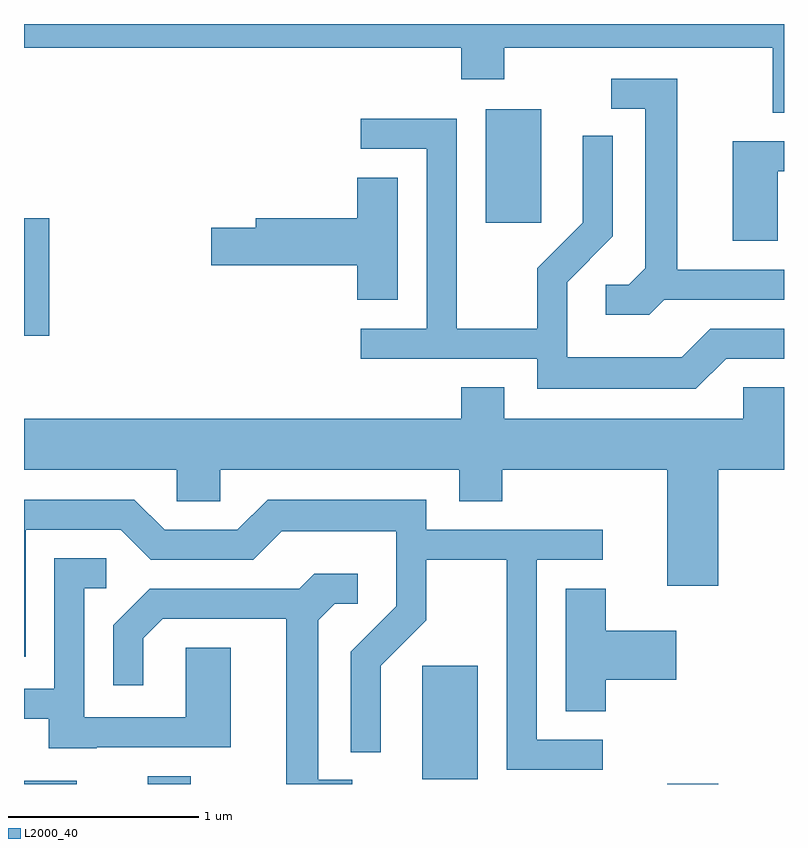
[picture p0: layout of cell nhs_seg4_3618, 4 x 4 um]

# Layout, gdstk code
import gdstk
lib = gdstk.Library(unit=1e-6, precision=1e-09)
def R(c, l, rs):  # rectangles x0, y0, x1, y1
    for r in rs: c.add(gdstk.rectangle(r[:2], r[2:], *l))
def P(c, l, *ps):  # polygons
    for p in ps: c.add(gdstk.Polygon(p, *l))
L2000_40 = (2000, 40)

nhs_seg4_3618 = lib.new_cell('nhs_seg4_3618')
R(nhs_seg4_3618, L2000_40, [(291.611,1281.982,291.888,1281.999), (292.261,1281.982,292.489,1282.024), (294.996,1281.982,295.264,1281.984), (293.706,1282.006,293.999,1282.604), (291.611,1284.341,291.744,1284.959), (294.041,1284.936,294.334,1285.534)])
P(nhs_seg4_3618, L2000_40, [(295.611,1285.982),(291.611,1285.982),(291.611,1285.856),(293.911,1285.856),(293.911,1285.691),(294.139,1285.691),(294.139,1285.856),(295.551,1285.856),(295.551,1285.516),(295.611,1285.516)],
  [(294.982,1284.531),(295.611,1284.531),(295.611,1284.689),(295.049,1284.689),(295.049,1285.694),(294.703,1285.694),(294.703,1285.536),(294.881,1285.536),(294.881,1284.697),(294.794,1284.609),(294.673,1284.609),(294.673,1284.451),(294.902,1284.451)],
  [(295.307,1284.221),(295.611,1284.221),(295.611,1284.379),(295.224,1284.379),(295.074,1284.229),(294.469,1284.229),(294.469,1284.624),(294.709,1284.864),(294.709,1285.393),(294.551,1285.393),(294.551,1284.937),(294.311,1284.697),(294.311,1284.379),(293.889,1284.379),(293.889,1285.484),(293.383,1285.484),(293.383,1285.326),(293.731,1285.326),(293.731,1284.379),(293.383,1284.379),(293.383,1284.221),(294.311,1284.221),(294.311,1284.061),(295.147,1284.061)],
  [(295.579,1285.206),(295.611,1285.206),(295.611,1285.364),(295.341,1285.364),(295.341,1284.841),(295.579,1284.841)],
  [(293.579,1285.174),(293.366,1285.174),(293.366,1284.959),(292.831,1284.959),(292.831,1284.909),(292.596,1284.909),(292.596,1284.711),(293.366,1284.711),(293.366,1284.531),(293.579,1284.531)],
  [(295.264,1283.636),(295.611,1283.636),(295.611,1284.069),(295.396,1284.069),(295.396,1283.904),(294.139,1283.904),(294.139,1284.069),(293.911,1284.069),(293.911,1283.904),(291.611,1283.904),(291.611,1283.636),(292.416,1283.636),(292.416,1283.471),(292.644,1283.471),(292.644,1283.636),(293.901,1283.636),(293.901,1283.471),(294.129,1283.471),(294.129,1283.636),(294.996,1283.636),(294.996,1283.026),(295.264,1283.026)],
  [(294.658,1282.214),(294.309,1282.214),(294.309,1283.161),(294.658,1283.161),(294.658,1283.319),(293.729,1283.319),(293.729,1283.479),(292.894,1283.479),(292.734,1283.319),(292.352,1283.319),(292.192,1283.479),(291.611,1283.479),(291.611,1282.651),(291.619,1282.651),(291.619,1283.321),(292.119,1283.321),(292.279,1283.161),(292.817,1283.161),(292.967,1283.311),(293.571,1283.311),(293.571,1282.917),(293.331,1282.677),(293.331,1282.148),(293.489,1282.148),(293.489,1282.604),(293.729,1282.844),(293.729,1283.161),(294.151,1283.161),(294.151,1282.056),(294.658,1282.056)],
  [(291.995,1282.176),(292.699,1282.176),(292.699,1282.699),(292.461,1282.699),(292.461,1282.334),(291.929,1282.334),(291.929,1283.011),(292.043,1283.011),(292.043,1283.169),(291.771,1283.169),(291.771,1282.484),(291.611,1282.484),(291.611,1282.326),(291.741,1282.326),(291.741,1282.171),(291.995,1282.171)],
  [(293.338,1282.004),(293.159,1282.004),(293.159,1282.844),(293.247,1282.931),(293.368,1282.931),(293.368,1283.089),(293.139,1283.089),(293.059,1283.009),(292.274,1283.009),(292.081,1282.817),(292.081,1282.503),(292.239,1282.503),(292.239,1282.749),(292.342,1282.851),(292.991,1282.851),(292.991,1281.982),(293.338,1281.982)],
  [(294.674,1282.531),(295.044,1282.531),(295.044,1282.789),(294.674,1282.789),(294.674,1283.009),(294.461,1283.009),(294.461,1282.366),(294.674,1282.366)])

lib.write_gds('nhs_seg4_3618.gds')
